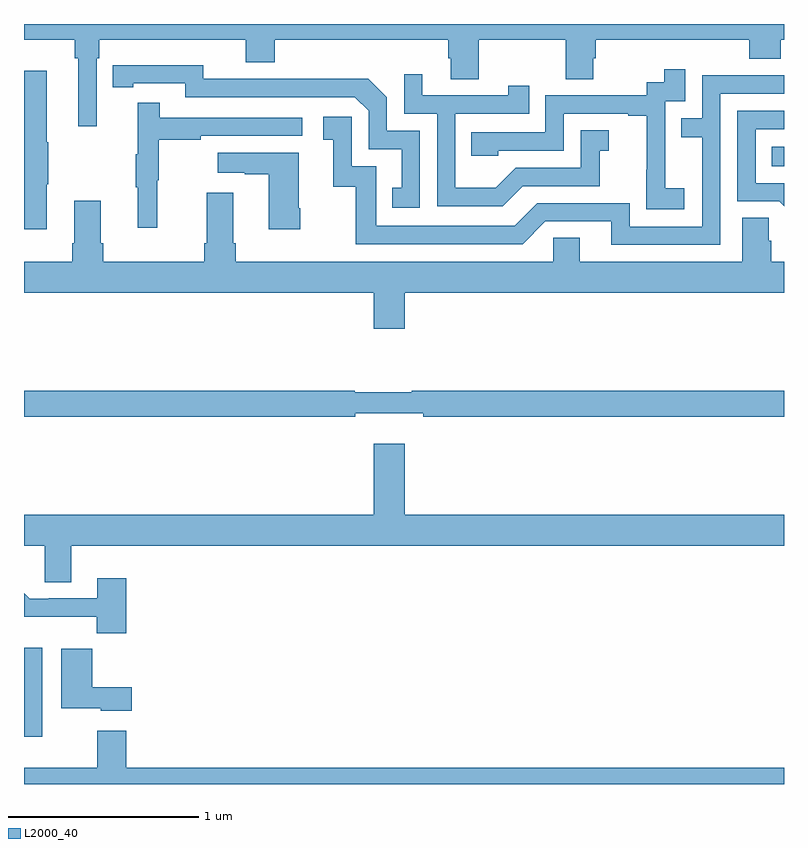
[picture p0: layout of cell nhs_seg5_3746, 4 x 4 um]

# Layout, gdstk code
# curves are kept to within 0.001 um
import gdstk
lib = gdstk.Library(unit=1e-6, precision=1e-09)
def R(c, l, rs):  # rectangles x0, y0, x1, y1
    for r in rs: c.add(gdstk.rectangle(r[:2], r[2:], *l))
def P(c, l, *ps):  # polygons
    for p in ps: c.add(gdstk.Polygon(p, *l))
L2000_40 = (2000, 40)

nhs_seg5_3746 = lib.new_cell('nhs_seg5_3746')
R(nhs_seg5_3746, L2000_40, [(331,897.048,331.096,897.517), (334.936,900.05,335,900.154)])
P(nhs_seg5_3746, L2000_40, [(331,900.716),(331.267,900.716),(331.267,900.62),(331.286,900.62),(331.286,900.261),(331.383,900.261),(331.383,900.62),(331.397,900.62),(331.397,900.716),(332.168,900.716),(332.168,900.599),(332.321,900.599),(332.321,900.716),(333.233,900.716),(333.233,900.618),(333.245,900.618),(333.245,900.508),(333.393,900.508),(333.393,900.716),(333.85,900.716),(333.85,900.508),(333.997,900.508),(333.997,900.618),(334.01,900.618),(334.01,900.716),(334.817,900.716),(334.817,900.617),(334.982,900.617),(334.982,900.716),(335,900.716),(335,900.799),(331,900.799)],
  [(333.084,900.237),(332.91,900.237),(332.91,900.414),(332.812,900.512),(332.404,900.512),(332.404,900.51),(331.944,900.51),(331.944,900.583),(331.468,900.582),(331.468,900.466),(331.576,900.466),(331.576,900.486),(331.848,900.486),(331.848,900.414),(332.742,900.414),(332.814,900.342),(332.814,900.141),(332.987,900.141),(332.987,899.937),(332.938,899.937),(332.938,899.832),(333.084,899.832)],
  [(334.474,899.935),(334.376,899.935),(334.376,900.164),(334.374,900.164),(334.374,900.393),(334.479,900.393),(334.479,900.562),(334.371,900.562),(334.371,900.492),(334.278,900.492),(334.278,900.423),(333.744,900.423),(333.744,900.228),(333.355,900.228),(333.355,900.105),(333.495,900.105),(333.495,900.132),(333.84,900.132),(333.84,900.327),(334.181,900.327),(334.181,900.315),(334.277,900.315),(334.277,900.031),(334.276,900.031),(334.276,899.825),(334.474,899.825)],
  [(331.12,899.956),(331.128,899.956),(331.128,900.177),(331.12,900.177),(331.12,900.553),(331,900.553),(331,899.718),(331.12,899.718)],
  [(333.625,899.946),(334.029,899.946),(334.029,900.131),(334.078,900.131),(334.078,900.241),(333.93,900.241),(333.93,900.042),(333.588,900.042),(333.484,899.938),(333.27,899.938),(333.27,900.327),(333.659,900.327),(333.659,900.475),(333.548,900.475),(333.548,900.423),(333.097,900.423),(333.097,900.535),(333,900.535),(333,900.327),(333.174,900.327),(333.174,899.841),(333.52,899.841)],
  [(334.665,900.432),(335,900.432),(335,900.528),(334.569,900.528),(334.569,900.303),(334.459,900.303),(334.459,900.202),(334.569,900.202),(334.569,899.733),(334.188,899.733),(334.188,899.856),(333.702,899.856),(333.582,899.736),(332.853,899.736),(332.853,900.051),(332.724,900.051),(332.724,900.31),(332.574,900.31),(332.574,900.189),(332.627,900.189),(332.627,899.943),(332.745,899.943),(332.745,899.64),(333.624,899.64),(333.744,899.76),(334.091,899.76),(334.091,899.637),(334.665,899.637)],
  [(331.7,899.976),(331.708,899.976),(331.708,900.19),(331.931,900.19),(331.931,900.21),(332.464,900.21),(332.464,900.306),(331.715,900.306),(331.715,900.385),(331.598,900.385),(331.598,900.113),(331.587,900.113),(331.587,899.939),(331.598,899.939),(331.598,899.727),(331.7,899.727)],
  [(335,899.961),(334.851,899.961),(334.851,900.246),(335,900.246),(335,900.342),(334.755,900.342),(334.755,899.865),(334.974,899.865),(335,899.839)],
  [(332.454,899.83),(332.446,899.83),(332.446,900.121),(332.019,900.121),(332.019,900.017),(332.162,900.017),(332.162,900.007),(332.288,900.007),(332.288,899.718),(332.454,899.718)],
  [(333.004,899.384),(335,899.384),(335,899.548),(334.934,899.548),(334.934,899.657),(334.92,899.657),(334.92,899.78),(334.781,899.78),(334.781,899.548),(333.925,899.548),(333.925,899.675),(333.786,899.675),(333.786,899.548),(332.114,899.548),(332.114,899.644),(332.101,899.644),(332.101,899.911),(331.961,899.911),(331.961,899.644),(331.949,899.644),(331.949,899.548),(331.418,899.548),(331.418,899.644),(331.405,899.644),(331.405,899.869),(331.265,899.869),(331.265,899.644),(331.253,899.644),(331.253,899.548),(331,899.548),(331,899.384),(332.84,899.384),(332.84,899.196),(333.004,899.196)],
  [(332.744,898.751),(333.1,898.751),(333.1,898.732),(335,898.732),(335,898.868),(333.04,898.868),(333.04,898.861),(332.74,898.861),(332.74,898.868),(331,898.868),(331,898.732),(332.744,898.732)],
  [(331.249,898.052),(335,898.052),(335,898.216),(333.004,898.216),(333.004,898.591),(332.84,898.591),(332.84,898.216),(331,898.216),(331,898.052),(331.109,898.052),(331.109,897.862),(331.249,897.862)],
  [(331.538,897.883),(331.385,897.883),(331.385,897.777),(331.129,897.777),(331.129,897.774),(331.03,897.774),(331,897.804),(331,897.678),(331.383,897.678),(331.383,897.593),(331.538,897.593)],
  [(331.567,897.307),(331.358,897.307),(331.358,897.511),(331.196,897.511),(331.196,897.197),(331.404,897.197),(331.404,897.185),(331.567,897.185)],
  [(331.538,897.079),(331.385,897.079),(331.385,896.884),(331,896.884),(331,896.799),(335,896.799),(335,896.884),(331.538,896.884)])

lib.write_gds('nhs_seg5_3746.gds')
